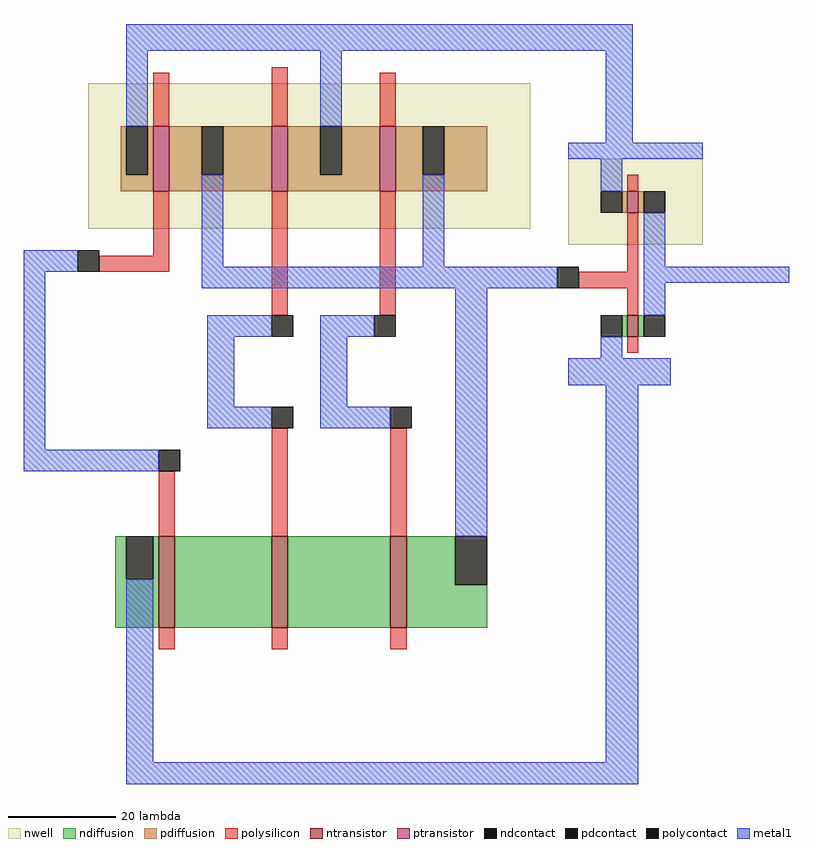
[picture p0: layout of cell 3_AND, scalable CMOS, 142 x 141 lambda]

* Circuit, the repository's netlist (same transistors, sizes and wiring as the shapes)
* SPICE3 file created from 3_AND.ext - technology: scmos

.option scale=0.09u

M1000 a_n33_15# a vdd w_n48_8# pfet w=12 l=3
+  ad=432 pd=120 as=296 ps=112
M1001 out a_n33_15# gnd Gnd nfet w=4 l=2
+  ad=20 pd=18 as=156 ps=68
M1002 vdd b a_n33_15# w_n48_8# pfet w=12 l=3
+  ad=0 pd=0 as=0 ps=0
M1003 a_n11_n66# b a_n32_n66# Gnd nfet w=17 l=3
+  ad=323 pd=72 as=306 ps=70
M1004 a_n32_n66# a gnd Gnd nfet w=17 l=3
+  ad=0 pd=0 as=0 ps=0
M1005 a_n33_15# c a_n11_n66# Gnd nfet w=17 l=3
+  ad=255 pd=64 as=0 ps=0
M1006 out a_n33_15# vdd w_41_5# pfet w=4 l=2
+  ad=20 pd=18 as=0 ps=0
M1007 a_n33_15# c vdd w_n48_8# pfet w=12 l=3
+  ad=0 pd=0 as=0 ps=0

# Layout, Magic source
magic
tech scmos
<< nwell >>
rect -48 8 34 35
rect 41 5 66 21
<< ntransistor >>
rect 52 -12 54 -8
rect -35 -66 -32 -49
rect -14 -66 -11 -49
rect 8 -66 11 -49
<< ptransistor >>
rect -36 15 -33 27
rect -14 15 -11 27
rect 6 15 9 27
rect 52 11 54 15
<< ndiffusion >>
rect 51 -12 52 -8
rect 54 -12 55 -8
rect -43 -57 -41 -49
rect -36 -57 -35 -49
rect -43 -66 -35 -57
rect -32 -66 -14 -49
rect -11 -66 8 -49
rect 11 -58 20 -49
rect 11 -66 26 -58
<< pdiffusion >>
rect -42 18 -41 27
rect -37 18 -36 27
rect -42 15 -36 18
rect -33 18 -27 27
rect -23 18 -14 27
rect -33 15 -14 18
rect -11 18 -5 27
rect -1 18 6 27
rect -11 15 6 18
rect 9 18 14 27
rect 18 18 26 27
rect 9 15 26 18
rect 51 11 52 15
rect 54 11 55 15
<< ndcontact >>
rect 47 -12 51 -8
rect 55 -12 59 -8
rect -41 -57 -36 -49
rect 20 -58 26 -49
<< pdcontact >>
rect -41 18 -37 27
rect -27 18 -23 27
rect -5 18 -1 27
rect 14 18 18 27
rect 47 11 51 15
rect 55 11 59 15
<< polysilicon >>
rect -36 27 -33 37
rect -14 27 -11 38
rect 6 27 9 37
rect 52 15 54 18
rect -36 3 -33 15
rect -46 0 -33 3
rect -14 -8 -11 15
rect 6 -8 9 15
rect 52 0 54 11
rect 43 -3 54 0
rect 52 -8 54 -3
rect 52 -15 54 -12
rect -35 -49 -32 -37
rect -14 -49 -11 -29
rect 8 -49 11 -29
rect -35 -70 -32 -66
rect -14 -70 -11 -66
rect 8 -70 11 -66
<< polycontact >>
rect -50 0 -46 4
rect 39 -3 43 1
rect -14 -12 -10 -8
rect 5 -12 9 -8
rect -14 -29 -10 -25
rect 8 -29 12 -25
rect -35 -37 -31 -33
<< metal1 >>
rect -41 41 53 46
rect -41 27 -37 41
rect -5 27 -1 41
rect 48 24 53 41
rect 41 21 66 24
rect -60 0 -50 4
rect -27 1 -23 18
rect 14 1 18 18
rect 47 15 51 21
rect 55 1 59 11
rect -60 -33 -56 0
rect -27 -3 39 1
rect 55 -2 82 1
rect -26 -12 -14 -8
rect -5 -12 5 -8
rect -26 -25 -21 -12
rect -5 -25 0 -12
rect -26 -29 -14 -25
rect -5 -29 8 -25
rect -60 -37 -35 -33
rect 20 -49 26 -3
rect 55 -8 59 -2
rect 47 -16 51 -12
rect 41 -21 60 -16
rect -41 -91 -36 -57
rect 48 -91 54 -21
rect -41 -95 54 -91
<< end >>
